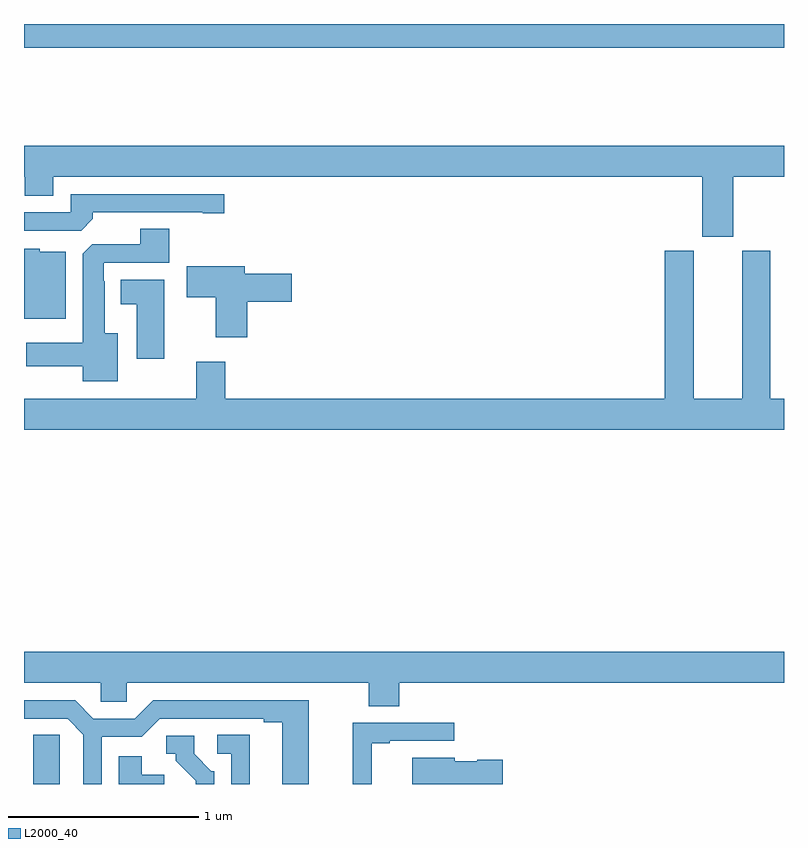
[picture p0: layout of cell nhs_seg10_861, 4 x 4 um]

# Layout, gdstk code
import gdstk
lib = gdstk.Library(unit=1e-6, precision=1e-09)
def R(c, l, rs):  # rectangles x0, y0, x1, y1
    for r in rs: c.add(gdstk.rectangle(r[:2], r[2:], *l))
def P(c, l, *ps):  # polygons
    for p in ps: c.add(gdstk.Polygon(p, *l))
L2000_40 = (2000, 40)

nhs_seg10_861 = lib.new_cell('nhs_seg10_861')
R(nhs_seg10_861, L2000_40, [(155,1254.376,159,1254.5)])
P(nhs_seg10_861, L2000_40, [(158.734,1253.696),(159,1253.696),(159,1253.86),(155,1253.86),(155,1253.696),(155.003,1253.696),(155.003,1253.597),(155.155,1253.597),(155.155,1253.696),(158.57,1253.696),(158.57,1253.379),(158.734,1253.379)],
  [(155.363,1253.474),(155.363,1253.508),(155.942,1253.508),(155.942,1253.503),(156.055,1253.503),(156.055,1253.604),(155.247,1253.604),(155.247,1253.508),(155,1253.508),(155,1253.412),(155.301,1253.412)],
  [(155.494,1252.873),(155.425,1252.873),(155.425,1253.147),(155.421,1253.147),(155.421,1253.244),(155.765,1253.244),(155.765,1253.423),(155.612,1253.423),(155.612,1253.34),(155.358,1253.34),(155.309,1253.291),(155.309,1252.822),(155.013,1252.822),(155.013,1252.7),(155.309,1252.7),(155.309,1252.619),(155.494,1252.619)],
  [(155.221,1253.302),(155.082,1253.302),(155.082,1253.317),(155,1253.317),(155,1252.949),(155.221,1252.949)],
  [(159,1252.528),(158.928,1252.528),(158.928,1253.307),(158.78,1253.307),(158.78,1252.528),(158.524,1252.528),(158.524,1253.307),(158.372,1253.307),(158.372,1252.528),(156.059,1252.528),(156.059,1252.723),(155.906,1252.723),(155.906,1252.528),(155,1252.528),(155,1252.364),(159,1252.364)],
  [(156.176,1253.039),(156.409,1253.039),(156.409,1253.186),(156.163,1253.186),(156.163,1253.224),(155.856,1253.224),(155.856,1253.062),(156.008,1253.062),(156.008,1252.851),(156.176,1252.851)],
  [(155.737,1253.155),(155.51,1253.155),(155.51,1253.024),(155.594,1253.024),(155.594,1252.737),(155.737,1252.737)],
  [(156.974,1251.032),(159,1251.032),(159,1251.196),(155,1251.196),(155,1251.032),(155.403,1251.032),(155.403,1250.934),(155.541,1250.934),(155.541,1251.032),(156.814,1251.032),(156.814,1250.908),(156.974,1250.908)],
  [(155.409,1250.748),(155.619,1250.748),(155.715,1250.844),(156.263,1250.844),(156.263,1250.824),(156.359,1250.824),(156.359,1250.5),(156.499,1250.5),(156.499,1250.94),(155.679,1250.94),(155.583,1250.844),(155.365,1250.844),(155.269,1250.94),(155,1250.94),(155,1250.844),(155.229,1250.844),(155.313,1250.76),(155.313,1250.5),(155.409,1250.5)],
  [(156.83,1250.715),(156.925,1250.715),(156.925,1250.727),(157.264,1250.727),(157.264,1250.823),(156.73,1250.823),(156.73,1250.5),(156.83,1250.5)],
  [(156.187,1250.759),(156.018,1250.759),(156.018,1250.658),(156.09,1250.658),(156.09,1250.5),(156.187,1250.5)],
  [(155.188,1250.651),(155.187,1250.651),(155.187,1250.759),(155.048,1250.759),(155.048,1250.5),(155.188,1250.5)],
  [(156,1250.568),(155.985,1250.568),(155.895,1250.658),(155.895,1250.754),(155.748,1250.754),(155.748,1250.658),(155.798,1250.658),(155.798,1250.623),(155.903,1250.518),(155.903,1250.5),(156,1250.5)],
  [(155.737,1250.548),(155.62,1250.548),(155.62,1250.647),(155.498,1250.647),(155.498,1250.5),(155.737,1250.5)],
  [(157.519,1250.628),(157.386,1250.628),(157.386,1250.62),(157.266,1250.62),(157.266,1250.638),(157.043,1250.638),(157.043,1250.5),(157.519,1250.5)])

lib.write_gds('nhs_seg10_861.gds')
